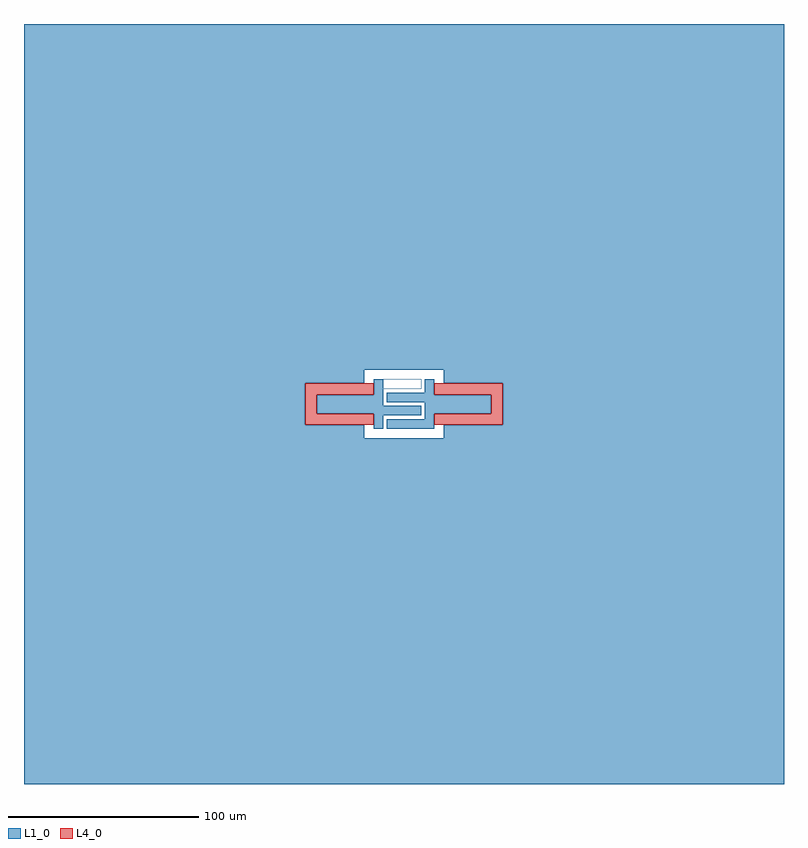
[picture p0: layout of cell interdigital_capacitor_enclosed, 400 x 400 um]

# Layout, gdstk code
import gdstk
lib = gdstk.Library(unit=1e-6, precision=1e-09)
def R(c, l, rs):  # rectangles x0, y0, x1, y1
    for r in rs: c.add(gdstk.rectangle(r[:2], r[2:], *l))
def P(c, l, *ps):  # polygons
    for p in ps: c.add(gdstk.Polygon(p, *l))
L1_0 = (1, 0)
L4_0 = (4, 0)

interdigital_capacitor_e = lib.new_cell('interdigital_capacitor_enclosed')
R(interdigital_capacitor_e, L1_0, [(-46,-5,-16,5), (16,-5,46,5)])
P(interdigital_capacitor_e, L1_0, [(-16,-13),(-16,13),(9,13),(9,8),(-11,8),(-11,13),(9,13),(9,8),(-11,8),(-11,-1),(9,-1),(9,-6),(-11,-6),(-11,-13),(-16,-13)],
  [(16,-13),(16,13),(11,13),(11,6),(-9,6),(-9,1),(11,1),(11,-8),(-9,-8),(-9,-13),(11,-13),(11,-13),(16,-13)],
  [(200,200),(-200,200),(-200,-11),(-52,-11),(-52,11),(-21,11),(-21,18),(21,18),(21,11),(52,11),(52,-11),(21,-11),(21,-18),(-21,-18),(-21,-11),(-52,-11),(-200,-11),(-200,-200),(200,-200)])
R(interdigital_capacitor_e, L4_0, [(-52,-11,-46,11), (-46,-11,-16,-5), (16,-11,46,-5), (46,-11,52,11), (-46,5,-16,11), (16,5,46,11)])

lib.write_gds('interdigital_capacitor_enclosed.gds')
